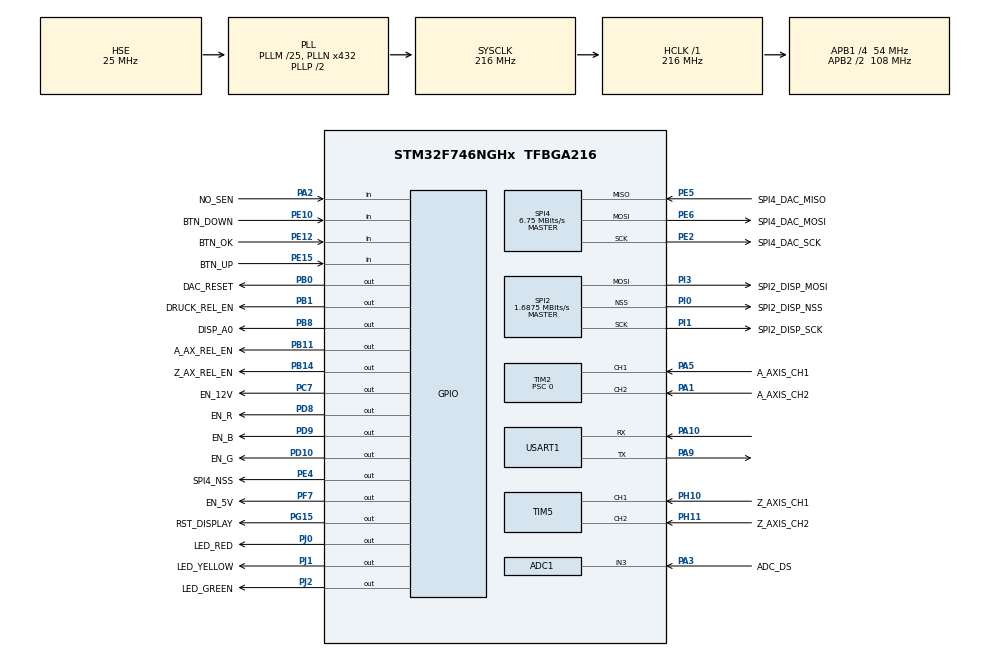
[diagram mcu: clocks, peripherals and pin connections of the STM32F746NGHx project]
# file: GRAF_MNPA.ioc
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ADC1.Channel-3\#ChannelRegularConversion=ADC_CHANNEL_3
ADC1.ContinuousConvMode=DISABLE
ADC1.DataAlign=ADC_DATAALIGN_RIGHT
ADC1.NbrOfConversion=1
ADC1.NbrOfConversionFlag=1
ADC1.Rank-3\#ChannelRegularConversion=1
ADC1.SamplingTime-3\#ChannelRegularConversion=ADC_SAMPLETIME_15CYCLES
ADC1.ScanConvMode=ADC_SCAN_DISABLE
ADC1.master=1
CORTEX_M7.default_mode_Activation=1
Mcu.Family=STM32F7
Mcu.Name=STM32F746NGHx
Mcu.Package=TFBGA216
NVIC.ADC_IRQn=false\:0\:0\:false\:false\:true\:true\:true\:true
NVIC.PriorityGroup=NVIC_PRIORITYGROUP_4
NVIC.TIM1_UP_TIM10_IRQn=false\:0\:0\:false\:false\:true\:true\:true\:true
NVIC.TIM2_IRQn=false\:0\:0\:false\:false\:true\:true\:true\:true
NVIC.TIM5_IRQn=false\:0\:0\:false\:false\:true\:true\:true\:true
NVIC.USART1_IRQn=true\:0\:0\:false\:false\:true\:true\:true\:true
PA1.GPIO_Label=A_AXIS_CH2
PA1.Signal=S_TIM2_CH2
PA10.Mode=Asynchronous
PA10.Signal=USART1_RX
PA13.Mode=JTAG_5_pins
PA13.Signal=SYS_JTMS-SWDIO
PA14.Mode=JTAG_5_pins
PA14.Signal=SYS_JTCK-SWCLK
PA15.Mode=JTAG_5_pins
PA15.Signal=SYS_JTDI
PA2.GPIO_Label=NO_SEN
PA2.GPIO_PuPd=GPIO_PULLUP
PA2.Signal=GPIO_Input
PA3.GPIO_Label=ADC_DS
PA3.Signal=ADCx_IN3
PA5.GPIO_Label=A_AXIS_CH1
PA5.Signal=S_TIM2_CH1_ETR
PA9.Mode=Asynchronous
PA9.Signal=USART1_TX
PB0.GPIO_Label=DAC_RESET
PB0.Signal=GPIO_Output
PB1.GPIO_Label=DRUCK_REL_EN
PB1.Signal=GPIO_Output
PB11.GPIO_Label=A_AX_REL_EN
PB11.GPIO_PuPd=GPIO_NOPULL
PB11.Signal=GPIO_Output
PB14.GPIO_Label=Z_AX_REL_EN
PB14.Signal=GPIO_Output
PB3.Mode=JTAG_5_pins
PB3.Signal=SYS_JTDO-SWO
PB4.Mode=JTAG_5_pins
PB4.Signal=SYS_JTRST
PB8.GPIO_Label=DISP_A0
PB8.Signal=GPIO_Output
PC7.GPIO_Label=EN_12V
PC7.Signal=GPIO_Output
PD10.GPIO_Label=EN_G
PD10.Signal=GPIO_Output
PD8.GPIO_Label=EN_R
PD8.Signal=GPIO_Output
PD9.GPIO_Label=EN_B
PD9.Signal=GPIO_Output
PE10.GPIO_Label=BTN_DOWN
PE10.Signal=GPIO_Input
PE12.GPIO_Label=BTN_OK
PE12.Signal=GPIO_Input
PE15.GPIO_Label=BTN_UP
PE15.Signal=GPIO_Input
PE2.GPIO_Label=SPI4_DAC_SCK
PE2.Mode=Full_Duplex_Master
PE2.Signal=SPI4_SCK
PE4.GPIO_Label=SPI4_NSS
PE4.Signal=GPIO_Output
PE5.GPIO_Label=SPI4_DAC_MISO
PE5.Mode=Full_Duplex_Master
PE5.Signal=SPI4_MISO
PE6.GPIO_Label=SPI4_DAC_MOSI
PE6.Mode=Full_Duplex_Master
PE6.Signal=SPI4_MOSI
PF7.GPIO_Label=EN_5V
PF7.Signal=GPIO_Output
PG15.GPIO_Label=RST_DISPLAY
PG15.Signal=GPIO_Output
PH0/OSC_IN.Mode=HSE-External-Clock-Source
PH0/OSC_IN.Signal=RCC_OSC_IN
PH1/OSC_OUT.Mode=HSE-External-Clock-Source
PH1/OSC_OUT.Signal=RCC_OSC_OUT
PH10.GPIO_Label=Z_AXIS_CH1
PH10.Signal=S_TIM5_CH1
PH11.GPIO_Label=Z_AXIS_CH2
PH11.Signal=S_TIM5_CH2
PI0.GPIO_Label=SPI2_DISP_NSS
PI0.Mode=NSS_Signal_Hard_Output
PI0.Signal=SPI2_NSS
PI1.GPIO_Label=SPI2_DISP_SCK
PI1.Mode=TX_Only_Simplex_Unidirect_Master
PI1.Signal=SPI2_SCK
PI3.GPIO_Label=SPI2_DISP_MOSI
PI3.Mode=TX_Only_Simplex_Unidirect_Master
PI3.Signal=SPI2_MOSI
PJ0.GPIO_Label=LED_RED
PJ0.Signal=GPIO_Output
PJ1.GPIO_Label=LED_YELLOW
PJ1.Signal=GPIO_Output
PJ2.GPIO_Label=LED_GREEN
PJ2.Signal=GPIO_Output
ProjectManager.HeapSize=0x200
ProjectManager.StackSize=0x400
ProjectManager.TargetToolchain=STM32CubeIDE
RCC.AHBFreq_Value=216000000
RCC.APB1CLKDivider=RCC_HCLK_DIV4
RCC.APB1Freq_Value=54000000
RCC.APB1TimFreq_Value=108000000
RCC.APB2CLKDivider=RCC_HCLK_DIV2
RCC.APB2Freq_Value=108000000
RCC.APB2TimFreq_Value=216000000
RCC.CortexFreq_Value=216000000
RCC.HCLKFreq_Value=216000000
RCC.HSE_VALUE=25000000
RCC.HSI_VALUE=16000000
RCC.LSE_VALUE=32768
RCC.PLLM=25
RCC.PLLN=432
RCC.PLLSourceVirtual=RCC_PLLSOURCE_HSE
RCC.SYSCLKFreq_VALUE=216000000
RCC.SYSCLKSource=RCC_SYSCLKSOURCE_PLLCLK
RCC.USBFreq_Value=216000000
RCC.VCOOutputFreq_Value=432000000
SH.ADCx_IN3.0=ADC1_IN3,IN3
SH.S_TIM2_CH1_ETR.0=TIM2_CH1,Encoder_Interface
SH.S_TIM2_CH2.0=TIM2_CH2,Encoder_Interface
SH.S_TIM5_CH1.0=TIM5_CH1,Encoder_Interface
SH.S_TIM5_CH2.0=TIM5_CH2,Encoder_Interface
SPI2.BaudRatePrescaler=SPI_BAUDRATEPRESCALER_32
SPI2.CalculateBaudRate=1.6875 MBits/s
SPI2.DataSize=SPI_DATASIZE_8BIT
SPI2.Direction=SPI_DIRECTION_2LINES
SPI2.Mode=SPI_MODE_MASTER
SPI2.VirtualNSS=VM_NSSHARD
SPI2.VirtualType=VM_MASTER
SPI4.BaudRatePrescaler=SPI_BAUDRATEPRESCALER_16
SPI4.CLKPhase=SPI_PHASE_1EDGE
SPI4.CLKPolarity=SPI_POLARITY_LOW
SPI4.CalculateBaudRate=6.75 MBits/s
SPI4.DataSize=SPI_DATASIZE_8BIT
SPI4.Direction=SPI_DIRECTION_2LINES
SPI4.Mode=SPI_MODE_MASTER
SPI4.NSSPMode=SPI_NSS_PULSE_DISABLE
SPI4.VirtualType=VM_MASTER
TIM2.AutoReloadPreload=TIM_AUTORELOAD_PRELOAD_ENABLE
TIM2.CounterMode=TIM_COUNTERMODE_UP
TIM2.EncoderMode=TIM_ENCODERMODE_TI12
TIM2.IC1Filter=1
TIM2.IC1Polarity=TIM_ICPOLARITY_RISING
TIM2.IC2Filter=1
TIM2.Period=4294967295
TIM2.Prescaler=0
TIM2.TIM_MasterOutputTrigger=TIM_TRGO_RESET
TIM2.TIM_MasterSlaveMode=TIM_MASTERSLAVEMODE_DISABLE
TIM5.AutoReloadPreload=TIM_AUTORELOAD_PRELOAD_ENABLE
TIM5.CounterMode=TIM_COUNTERMODE_UP
TIM5.EncoderMode=TIM_ENCODERMODE_TI12
TIM5.IC1Filter=3
TIM5.IC2Filter=3
TIM5.TIM_MasterOutputTrigger=TIM_TRGO_UPDATE
USART1.VirtualMode-Asynchronous=VM_ASYNC
board=custom

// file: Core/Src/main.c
/* USER CODE BEGIN Header */
/**
 ******************************************************************************
 * @file           : main.c
 * @brief          : Main program body
 ******************************************************************************
 * @attention
 *
 * Mark Angyal, E4, 2024. GRAF MNP
 *
 * Copyright (c) 2024 STMicroelectronics.
 * All rights reserved.
 *
 * This software is licensed under terms that can be found in the LICENSE file
 * in the root directory of this software component.
 * If no LICENSE file comes with this software, it is provided AS-IS.
 *
 ******************************************************************************
 */
/* USER CODE END Header */
#include "main.h"

/* USER CODE BEGIN Includes */
#include <stdio.h>
#include <string.h>
#include <math.h>
#include <stdbool.h>
#include <stdlib.h>
#include "display.h"
#include "AD5684RARUZ.h"
#include "ADC_read.h"
#include "encoder.h"
#include "Reference_Run.h"
#include "PID_Control.h"
#include "Z_PID_Control.h"
#include "handle_button.h"
#include "d_mot_control.h"
#include "data_buffer.h"
#include "test_run.h"

/* USER CODE END Includes */

/* USER CODE BEGIN PD */
#define a_mot 0x01		//Address for DAC-A...
#define z_mot 0x02		//DAC-B...
#define d_mot 0x04		//DAC-C.
#define TARGET_VOLTAGE_NEUTRAL 2.5f
#define MAX_DATA_POINTS 1000  // Maximale Anzahl an Datenpunkten

/* USER CODE END PD */

ADC_HandleTypeDef hadc1;

SPI_HandleTypeDef hspi2;
SPI_HandleTypeDef hspi4;

TIM_HandleTypeDef htim2;
TIM_HandleTypeDef htim5;

UART_HandleTypeDef huart1;

/* USER CODE BEGIN PV */
ad5684_dac_t dac;

typedef enum {
	IDLE_START, EXEC_REFERENCE_RUN, TEST_START, TEST_RUN, STOP, COMPLETED, FEHLER
} run_state_t;

run_state_t current_state = IDLE_START;

extern uint32_t A_Axis_TargetPosition;
extern uint32_t Z_Axis_TargetPosition;
extern int32_t a_encoder_start;
extern int32_t a_encoder_end;
extern int32_t z_encoder_start;
extern int32_t z_encoder_end;
extern int32_t z_ax_no_pos;
extern char display_buffer[DISPLAY_MAX_LINES][30];
extern float voltage;
/* UART Callback */
static char error_message[64];
static volatile uint8_t UART1_rxBuffer[1] = { 0 };

/* Ring buffer for UART commands — filled by ISR, drained in main loop */
#define UART_CMD_BUF_SIZE 32
static volatile uint8_t uart_cmd_buf[UART_CMD_BUF_SIZE];
static volatile uint8_t uart_cmd_head = 0;
static volatile uint8_t uart_cmd_tail = 0;
static bool tick_100ms_testrun_elapsed = false;
static uint32_t z_target_requested = 0;

uint32_t next_100ms_tick = 0;
uint32_t next_10ms_tick = 0;
uint32_t next_1ms_tick = 0;
uint32_t next_uart_status_tick = 0;

volatile bool ds_was_activated = false;
bool z_axis_success = false;
bool a_axis_success = false;
static bool completed_stats_sent = false;
static bool test_summary_sent = false;
/* USER CODE END PV */

void SystemClock_Config(void);
static void MPU_Config(void);
static void MX_GPIO_Init(void);
static void MX_TIM2_Init(void);
static void MX_SPI2_Init(void);
static void MX_TIM5_Init(void);
static void MX_USART1_UART_Init(void);
static void MX_SPI4_Init(void);
static void MX_ADC1_Init(void);
/* USER CODE BEGIN PFP */
void update_display(void);
void Process_UART_Command(const char *command);
void red_light(void);
void green_light(void);
void yellow_light(void);
void white_light(void);
/* USER CODE END PFP */

/* USER CODE BEGIN 0 */
display_info_t display1 = {								//The Display init
		.spi_handle = &hspi2, .lcd_width = 128, .lcd_height = 64,
				.lcd_ram_pages = 8 };

static const char* get_state_name(void) {
	switch (current_state) {
		case IDLE_START:         return "IDLE_START";
		case EXEC_REFERENCE_RUN: return "EXEC_REFERENCE_RUN";
		case TEST_START:         return "TEST_START";
		case TEST_RUN:           return "TEST_RUN";
		case STOP:               return "STOP";
		case COMPLETED:          return "COMPLETED";
		case FEHLER:             return "FEHLER";
		default:                 return "UNKNOWN";
	}
}

static void uart_send_status(void) {
	char buf[32];
	snprintf(buf, sizeof(buf), "_STATUS_%s\r\n", get_state_name());
	HAL_UART_Transmit(&huart1, (const uint8_t*) buf, (uint16_t) strlen(buf), 100);
}

void uart_send_text(const char *text, uint32_t timeout) {
	HAL_UART_Transmit(&huart1, (const uint8_t*) text, (uint16_t) strlen(text),
			timeout);
}

void Z_Target_SetRequested(uint32_t target) {
	z_target_requested = target;
	Z_Axis_TargetPosition = target;
}

void Z_Target_SetRequestedDirect(uint32_t target) {
	z_target_requested = target;
	Z_Axis_TargetPosition = target;
}

uint32_t Z_Target_GetRequested(void) {
	return z_target_requested;
}

static uint32_t clamp_nonnegative_position(int32_t position) {
	return (position < 0) ? 0u : (uint32_t)position;
}

static bool parse_positive_decimal(const char *s, float *out) {
	if (s == NULL || out == NULL) {
		return false;
	}

	while (*s == ' ' || *s == '\t' || *s == '\r' || *s == '\n') {
		++s;
	}
	if (*s == '\0') {
		return false;
	}
	if (*s == '+') {
		++s;
	}
	if (*s == '-') {
		return false;
	}

	const char *end = s + strlen(s);
	while (end > s && (end[-1] == ' ' || end[-1] == '\t' || end[-1] == '\r' || end[-1] == '\n')) {
		--end;
	}

	uint32_t int_part = 0;
	uint32_t frac_part = 0;
	uint32_t frac_div = 1;
	bool seen_digit = false;
	bool seen_dot = false;
	for (const char *p = s; p < end; ++p) {
		char c = *p;
		if (c >= '0' && c <= '9') {
			seen_digit = true;
			if (!seen_dot) {
				int_part = (int_part * 10u) + (uint32_t) (c - '0');
			} else if (frac_div < 1000000000u) {
				frac_part = (frac_part * 10u) + (uint32_t) (c - '0');
				frac_div *= 10u;
			}
		} else if (c == '.' && !seen_dot) {
			seen_dot = true;
		} else {
			return false;
		}
	}
	if (!seen_digit) {
		return false;
	}
	*out = (float) int_part + ((float) frac_part / (float) frac_div);
	return *out > 0.0f;
}

static bool parse_pid_triplet(const char *payload, float *kp, float *ki, float *kd) {
	if (payload == NULL || kp == NULL || ki == NULL || kd == NULL) {
		return false;
	}
	const char *c1 = strchr(payload, ',');
	if (c1 == NULL) {
		return false;
	}
	const char *c2 = strchr(c1 + 1, ',');
	if (c2 == NULL) {
		return false;
	}
	if (strchr(c2 + 1, ',') != NULL) {
		return false;
	}
	char p1[24] = { 0 };
	char p2[24] = { 0 };
	char p3[24] = { 0 };
	size_t l1 = (size_t) (c1 - payload);
	size_t l2 = (size_t) (c2 - (c1 + 1));
	size_t l3 = strlen(c2 + 1);
	if (l1 == 0 || l2 == 0 || l3 == 0 || l1 >= sizeof(p1) || l2 >= sizeof(p2)
			|| l3 >= sizeof(p3)) {
		return false;
	}
	memcpy(p1, payload, l1);
	memcpy(p2, c1 + 1, l2);
	memcpy(p3, c2 + 1, l3);
	if (!parse_positive_decimal(p1, kp)) {
		return false;
	}
	if (!parse_positive_decimal(p2, ki)) {
		return false;
	}
	if (!parse_positive_decimal(p3, kd)) {
		return false;
	}
	return true;
}

/* Update Display */
/* Update Display (Minimal & Ruckfrei - waehrend TEST_RUN komplett deaktiviert) */
void update_display() {
	if (current_state == TEST_RUN) {
		return;
	}

	int32_t z_axis_position = Encoder_GetPosition_Z_AXIS();

	const char *st_name = "BEREIT";
	if (current_state == IDLE_START) st_name = "BITTE REFERENZIEREN";
	else if (current_state == EXEC_REFERENCE_RUN) st_name = "REFERENZIERE...";
	else if (current_state == TEST_START) st_name = "BEREIT (START-POS)";
	else if (current_state == STOP) st_name = "NOT-HALT / STOP";
	else if (current_state == FEHLER) st_name = "FEHLER!";
	else if (current_state == COMPLETED) st_name = "TEST BEENDET";

	snprintf(display_buffer[0], sizeof(display_buffer[0]), "   GRAF MNP TEST");
	snprintf(display_buffer[2], sizeof(display_buffer[2]), "Status: %-15s", st_name);
	snprintf(display_buffer[4], sizeof(display_buffer[4]), "Z-Ist:  %ld", (long)z_axis_position);
	if (current_state == FEHLER && error_message[0] != '\0') {
		snprintf(display_buffer[5], sizeof(display_buffer[5]), "%.21s", error_message);
	} else {
		display_buffer[5][0] = '\0';
	}
	snprintf(display_buffer[7], sizeof(display_buffer[7]), "  REF     HOME   RESET");

	display_jazz_write_string_5x7(&display1, 0, display_buffer[0]);
	display_jazz_write_string_5x7(&display1, 2, display_buffer[2]);
	display_jazz_write_string_5x7(&display1, 4, display_buffer[4]);
	if (display_buffer[5][0] != '\0') {
		display_jazz_write_string_5x7(&display1, 5, display_buffer[5]);
	}
	display_jazz_write_string_5x7(&display1, 7, display_buffer[7]);

	/* Live-Telemetrie fuer Windows GUI (wird waehrend TEST_RUN ohnehin oben uebersprungen) */
	GPIO_PinState no_sen_state = HAL_GPIO_ReadPin(NO_SEN_GPIO_Port, NO_SEN_Pin);
	int32_t a_axis_position = Encoder_GetPosition_A_AXIS();
	float z_dac_voltage = voltage;
	uint16_t raw_value = ADC_Drucksensor(&hadc1);
	float sensorVoltage = (float)raw_value * (5.0f / 4095.0f);

	char datablock[96];
	snprintf(datablock, sizeof(datablock), "%d;%.3f;%ld;%ld;%ld;%.3f\r\n",
			(int)no_sen_state, sensorVoltage, (long)a_axis_position,
			(long)z_axis_position, (long)Z_Axis_TargetPosition, z_dac_voltage);
	uart_send_text(datablock, 50);
}

void HAL_UART_RxCpltCallback(UART_HandleTypeDef *huart) {
	if (huart == &huart1) {
		/* Store received byte in ring buffer — never call blocking code from ISR */
		uint8_t next = (uart_cmd_head + 1) % UART_CMD_BUF_SIZE;
		if (next != uart_cmd_tail) { // drop silently if buffer is full
			uart_cmd_buf[uart_cmd_head] = UART1_rxBuffer[0];
			uart_cmd_head = next;
		}
		HAL_UART_Receive_IT(&huart1, (uint8_t*) UART1_rxBuffer, 1);
	}
}

void HAL_UART_ErrorCallback(UART_HandleTypeDef *huart) {
	if (huart == &huart1) {
		__HAL_UART_CLEAR_OREFLAG(huart);
		__HAL_UART_CLEAR_NEFLAG(huart);
		__HAL_UART_CLEAR_FEFLAG(huart);
		__HAL_UART_CLEAR_PEFLAG(huart);
		HAL_UART_Receive_IT(&huart1, (uint8_t*) UART1_rxBuffer, 1);
	}
}

// UART-Verarbeitung
void Process_UART_Command(const char *command) {
	int32_t raw_min = (z_encoder_start < z_encoder_end) ? z_encoder_start : z_encoder_end;
	int32_t raw_max = (z_encoder_start > z_encoder_end) ? z_encoder_start : z_encoder_end;
	if (raw_min < 0) raw_min = 0;

	/* Dynamische Sicherheits-Grenzwerte fuer den Bediener:
	 * Unteres Limit: gemessener harter Anschlag + 50
	 * Oberes Limit:  gemessener harter Anschlag - 150 */
	uint32_t lower_limit = (uint32_t)raw_min + 50u;
	uint32_t upper_limit = (raw_max > 150) ? (uint32_t)(raw_max - 150) : (uint32_t)raw_max;
	if (upper_limit < lower_limit) upper_limit = lower_limit + 100u;

	char response[256] = { 0 }; 				// Rückmeldungspuffer
	uint32_t step_size = 100;

	if (command[0] == '+' || command[0] == '-') {
		if (command[1] != '\0') {
			unsigned long parsed_step = 0;
			if (sscanf(command + 1, "%lu", &parsed_step) != 1 || parsed_step == 0) {
				snprintf(response, sizeof(response), "Ungueltig: +<zahl> oder -<zahl>\r\n");
				uart_send_status();
				uart_send_text(response, 50);
				return;
			}
			step_size = (uint32_t) parsed_step;
		}
	}

	if (command[0] == '+') { // Zielposition erhöhen
		if (current_state != TEST_START) {
			snprintf(response, sizeof(response), "Ignoriert: kein TEST_START\r\n");
		} else {
			uint32_t req = Z_Target_GetRequested();
			uint32_t next = req;
			if (req + step_size <= upper_limit) {
				next = req + step_size;
				snprintf(response, sizeof(response), "Erhöht: Ziel = %lu\r\n", next);
			} else {
				next = upper_limit;
				snprintf(response, sizeof(response), "Limit: Ziel = %lu\r\n", next);
			}
			Z_Target_SetRequested(next);
		}

	} else if (command[0] == '-') { // Zielposition verringern
		if (current_state != TEST_START) {
			snprintf(response, sizeof(response), "Ignoriert: kein TEST_START\r\n");
		} else {
			uint32_t req = Z_Target_GetRequested();
			uint32_t next = req;
			if (req >= step_size + lower_limit) {
				next = req - step_size;
				snprintf(response, sizeof(response), "Verringert: Ziel = %lu\r\n", next);
			} else {
				next = lower_limit;
				snprintf(response, sizeof(response), "Limit: Ziel = %lu\r\n", next);
			}
			Z_Target_SetRequested(next);
		}

	} else if (strcmp(command, "r") == 0) { // Relais an/aus
		snprintf(response, sizeof(response), "System reset initiated.\r\n");
		NVIC_SystemReset();
	} else if (strcmp(command, "s") == 0) { // Referenzlauf starten
		Z_PID_Reset();
		Z_PID_SetSchedulerEnabled(true);
		current_state = EXEC_REFERENCE_RUN;
		snprintf(response, sizeof(response), "Referenzlauf gestartet.\r\n");
	} else if (strcmp(command, "e") == 0) { // Test / Manuell starten
		HAL_GPIO_WritePin(GPIOB, Z_AX_REL_EN_Pin, GPIO_PIN_SET);
		HAL_GPIO_WritePin(GPIOB, A_AX_REL_EN_Pin, GPIO_PIN_SET);
		Z_PID_Reset();
		Z_PID_SetSchedulerEnabled(true);
		uint32_t home_pos = (z_ax_no_pos > 0) ? (z_ax_no_pos + 50) : clamp_nonnegative_position(Encoder_GetPosition_Z_AXIS());
		Z_Target_SetRequestedDirect(home_pos);
		current_state = TEST_START;
		snprintf(response, sizeof(response), "Test/Manuell gestartet.\r\n");
	} else if (strncmp(command, "TA=", 3) == 0 || strcmp(command, "TA") == 0) {
		int cycles = (command[2] == '=') ? atoi(command + 3) : 10;
		if (cycles <= 0) cycles = 1;
		if (cycles > 100000) cycles = 100000;
		Z_PID_SetSchedulerEnabled(false);
		TestRun_InitEx(TESTRUN_MODE_A_CLASSIC, (uint32_t)cycles);
		current_state = TEST_RUN;
		snprintf(response, sizeof(response), "TEST_A_START:%d Zyklen\r\n", cycles);
	} else if (strncmp(command, "TB=", 3) == 0 || strcmp(command, "TB") == 0) {
		int cycles = (command[2] == '=') ? atoi(command + 3) : 10;
		if (cycles <= 0) cycles = 1;
		if (cycles > 100000) cycles = 100000;
		Z_PID_SetSchedulerEnabled(false);
		TestRun_InitEx(TESTRUN_MODE_B_PROBE_SCATTER, (uint32_t)cycles);
		current_state = TEST_RUN;
		snprintf(response, sizeof(response), "TEST_B_START:%d Zyklen\r\n", cycles);
	} else if (strncmp(command, "CFG_TB:", 7) == 0) {
		const char *p = command + 7;
		char buf[48];
		strncpy(buf, p, sizeof(buf) - 1);
		buf[sizeof(buf) - 1] = '\0';
		char *semi = strchr(buf, ';');
		float dmot = 3.3f;
		unsigned long delta = 90;
		if (semi != NULL) {
			*semi = '\0';
			char *comma = strchr(buf, ',');
			if (comma) *comma = '.';
			parse_positive_decimal(buf, &dmot);
			delta = strtoul(semi + 1, NULL, 10);
		} else {
			char *comma = strchr(buf, ',');
			if (comma) *comma = '.';
			parse_positive_decimal(buf, &dmot);
		}
		if (dmot > 20.0f) dmot = dmot / 1000.0f; /* falls in mV übergeben */
		TestRun_SetDruckmotorVoltage(dmot);
		if (delta > 0) TestRun_SetTriggerDeltaMv((uint32_t)delta);
		snprintf(response, sizeof(response), "CFG_TB_OK:dmot=%.2f,delta=%lu\r\n", dmot, (unsigned long)TestRun_GetTriggerDeltaMv());
	} else if (strcmp(command, "CFG_TB?") == 0) {
		snprintf(response, sizeof(response), "CFG_TB:%.2f;%lu\r\n", TestRun_GetDruckmotorVoltage(), (unsigned long)TestRun_GetTriggerDeltaMv());
	} else if (command[0] == 'Z' && command[1] != '\0') { // Z-Achse Zielposition direkt setzen (z.B. "Z1500")
		if (current_state != TEST_START) {
			snprintf(response, sizeof(response), "Ignoriert: kein TEST_START\r\n");
		} else {
			uint32_t val = 0;
			if (sscanf(command + 1, "%lu", &val) == 1) {
				if (val >= lower_limit && val <= upper_limit) {
					Z_Target_SetRequested(val);
					snprintf(response, sizeof(response), "Z-Pos: %lu\r\n", val);
				} else {
					snprintf(response, sizeof(response), "Limit! %lu [%lu-%lu]\r\n", val, lower_limit, upper_limit);
				}
			} else {
				snprintf(response, sizeof(response), "Ungueltig: Z<zahl>\r\n");
			}
		}
	} else if (strcmp(command, "PP?") == 0) {
		float kp = 0.0f, ki = 0.0f, kd = 0.0f;
		Z_PID_GetPositionParameters(&kp, &ki, &kd);
		snprintf(response, sizeof(response), "PIDZP:%.7f;%.9f;%.7f\r\n", kp, ki, kd);
	} else if (strcmp(command, "PV?") == 0) {
		float kp = 0.0f, ki = 0.0f, kd = 0.0f;
		Z_PID_GetVelocityParameters(&kp, &ki, &kd);
		snprintf(response, sizeof(response), "PIDZV:%.7f;%.9f;%.7f\r\n", kp, ki, kd);
	} else if (strcmp(command, "L?") == 0) {
		snprintf(response, sizeof(response), "ZLIM:%lu;%lu\r\n", lower_limit, upper_limit);
	} else if (strcmp(command, "V?") == 0) {
		snprintf(response, sizeof(response), "ZV:%u\r\n", Z_PID_GetSpeedLevel());
	} else if (strcmp(command, "SNO?") == 0) {
		snprintf(response, sizeof(response), "SNO:%ld\r\n", (long)z_ax_no_pos);
	} else if (command[0] == 'P' && command[1] == 'P' && command[2] == '=') {
		float kp = 0.0f, ki = 0.0f, kd = 0.0f;
		if (parse_pid_triplet(command + 3, &kp, &ki, &kd)) {
			Z_PID_SetPositionParameters(kp, ki, kd);
			snprintf(response, sizeof(response), "PIDZP_SET:%.7f;%.9f;%.7f\r\n", kp, ki, kd);
		} else {
			snprintf(response, sizeof(response), "PIDZP_ERR:Format PP=kp,ki,kd\r\n");
		}
	} else if (command[0] == 'P' && command[1] == 'V' && command[2] == '=') {
		float kp = 0.0f, ki = 0.0f, kd = 0.0f;
		if (parse_pid_triplet(command + 3, &kp, &ki, &kd)) {
			Z_PID_SetVelocityParameters(kp, ki, kd);
			snprintf(response, sizeof(response), "PIDZV_SET:%.7f;%.9f;%.7f\r\n", kp, ki, kd);
		} else {
			snprintf(response, sizeof(response), "PIDZV_ERR:Format PV=kp,ki,kd\r\n");
		}
	} else if (command[0] == 'V' && command[1] == '=') {
		int level = atoi(command + 2);
		if (level >= 1 && level <= 16) {
			Z_PID_SetSpeedLevel((uint8_t)level);
			snprintf(response, sizeof(response), "ZV_SET:%u\r\n", (unsigned)level);
		} else {
			snprintf(response, sizeof(response), "ZV_ERR:Format V=1..16\r\n");
		}
	} else if (strcmp(command, "N") == 0) {
		Z_PID_EmergencyNeutral(&dac);
		Z_Target_SetRequestedDirect(clamp_nonnegative_position(Encoder_GetPosition_Z_AXIS()));
		snprintf(response, sizeof(response), "Z_NEUTRAL:2.5V\r\n");
	} else if (strcmp(command, "q") == 0) {
		Trace_Freeze();
		TestRun_RestoreSpeedLevel();
		uint32_t hold_pos = clamp_nonnegative_position(Encoder_GetPosition_Z_AXIS());
		Z_Target_SetRequestedDirect(hold_pos);
		current_state = TEST_START;
	} else if (strcmp(command, "DUMP_TRACE") == 0 || strcmp(command, "TRACE?") == 0) {
		if (current_state == TEST_RUN) {
			snprintf(response, sizeof(response), "TRACE_BUSY: Test laeuft noch!\r\n");
			uart_send_text(response, 50);
		} else {
			Trace_DumpUART();
		}
		return;
	} else if (strcmp(command, "CMD:TRACE_MODE:RING") == 0) {
		Trace_SetMode(TRACE_MODE_RING);
		snprintf(response, sizeof(response), "TRACE_MODE:RING (Pre-Trigger aktiv)\r\n");
	} else if (strcmp(command, "CMD:TRACE_MODE:START") == 0) {
		Trace_SetMode(TRACE_MODE_START);
		snprintf(response, sizeof(response), "TRACE_MODE:START (Linear ab Start)\r\n");
	} else if (strcmp(command, "CMD:TRACE_FREEZE") == 0) {
		Trace_Freeze();
		snprintf(response, sizeof(response), "TRACE_FREEZE:OK\r\n");
	}
	// Rückmeldung senden
	uart_send_status();
	uart_send_text(response, 50);
}
void red_light() {
	HAL_GPIO_WritePin(GPIOD, EN_G_Pin | EN_B_Pin, GPIO_PIN_RESET);
	HAL_GPIO_WritePin(GPIOD, EN_R_Pin, GPIO_PIN_SET);
	HAL_GPIO_TogglePin(GPIOJ, LED_RED_Pin);
}
void green_light() {
	HAL_GPIO_WritePin(GPIOD, EN_R_Pin | EN_B_Pin, GPIO_PIN_RESET);
	HAL_GPIO_WritePin(GPIOD, EN_G_Pin, GPIO_PIN_SET);
	HAL_GPIO_TogglePin(GPIOJ, LED_GREEN_Pin);

}
void yellow_light() {
	HAL_GPIO_WritePin(GPIOD, EN_R_Pin | EN_G_Pin, GPIO_PIN_SET);
	HAL_GPIO_WritePin(GPIOD, EN_B_Pin, GPIO_PIN_RESET);
	HAL_GPIO_TogglePin(GPIOJ, LED_YELLOW_Pin);

}
void white_light() {
	HAL_GPIO_WritePin(GPIOD, EN_R_Pin | EN_G_Pin | EN_B_Pin, GPIO_PIN_SET);
}

/* USER CODE END 0 */

int main(void)
{

  /* MPU Configuration--------------------------------------------------------*/
  MPU_Config();

  /* MCU Configuration--------------------------------------------------------*/

  /* Reset of all peripherals, Initializes the Flash interface and the Systick. */
  HAL_Init();

  /* Configure the system clock */
  SystemClock_Config();

  /* Initialize all configured peripherals */
  MX_GPIO_Init();
  MX_TIM2_Init();
  MX_SPI2_Init();
  MX_TIM5_Init();
  MX_USART1_UART_Init();
  MX_SPI4_Init();
  MX_ADC1_Init();
  /* USER CODE BEGIN 2 */

	/* GPIO Enables Voltages */
	HAL_GPIO_WritePin(EN_5V_GPIO_Port, EN_5V_Pin, GPIO_PIN_SET); //Enables 5V
	HAL_GPIO_WritePin(EN_12V_GPIO_Port, EN_12V_Pin, GPIO_PIN_SET); //Enables 12V
	/* DAC Initialization */
	HAL_GPIO_WritePin(GPIOB, DAC_RESET_Pin, GPIO_PIN_RESET);
	HAL_Delay(1);
	HAL_GPIO_WritePin(GPIOB, DAC_RESET_Pin, GPIO_PIN_SET);
	dac = (ad5684_dac_t ) { .spi_handle = &hspi4, .spi_cs_port =
	SPI4_NSS_GPIO_Port, .spi_cs_pin = SPI4_NSS_Pin,
	};
	ad5684_init(&dac);
	display_jazz_init(&display1);
	HAL_GPIO_WritePin(GPIOD, EN_G_Pin | EN_B_Pin | EN_R_Pin, GPIO_PIN_SET); //Display background ON
	Encoder_Init();
	HAL_UART_Receive_IT(&huart1, (uint8_t*) UART1_rxBuffer, 1);
	Z_Axis_TargetPosition = clamp_nonnegative_position(Encoder_GetPosition_Z_AXIS());
	Z_Target_SetRequestedDirect(Z_Axis_TargetPosition);
  /* USER CODE END 2 */

  /* Infinite loop */
  /* USER CODE BEGIN WHILE */
	while (1) {
		TestRunStats_t stats;

		/* Druckmotor nur bei Zustandswechsel neutralisieren (entlastet SPI-Bus) */
		static run_state_t s_last_motor_state = STOP;
		if (current_state != s_last_motor_state) {
			if (current_state != TEST_RUN) {
				d_mot_control(&dac, 2.5f);
			}
			s_last_motor_state = current_state;
		}

		if (current_state == IDLE_START) {
			white_light();
			if (HAL_GetTick() >= next_uart_status_tick) {
				next_uart_status_tick = HAL_GetTick() + 500;
				uart_send_status();
				uart_send_text("Bitte Referenzieren\r\n", 100);
			}
			//Referenzlauf starten
		} else if (current_state == EXEC_REFERENCE_RUN) {
			Z_Axis_ReferenceRun(&dac, &z_axis_success);
			if (z_axis_success) {
				uart_send_status();
				uart_send_text("Z-Achse Referenz OK\r\n", 1000);
			} else {
				uart_send_status();
				uart_send_text("Z-Achse Referenz Fehler\r\n", 1000);
			    strcpy(error_message, "Z-Achse Referenzfehler");
				red_light();
				current_state = FEHLER;
				continue;
			}
			HAL_Delay(1000);
			A_Axis_ReferenceRun(&dac, &a_axis_success);
			if (a_axis_success) {
				uart_send_status();
				uart_send_text("A-Achse Referenz OK\r\n", 1000);
			} else {
				uart_send_status();
				char err_buf[160];
				if (a_axis_last_ref_result == A_REF_ERR_DRUCKSENSOR) {
					float ds_volt = (float)a_axis_trip_adc_val * (5.0f / 4095.0f);
					snprintf(err_buf, sizeof(err_buf),
						"A-Achse Referenz FEHLER: Drucksensor hat ausgeloest! (IST: %.2fV / %u inc > 100 inc -> Hebel auf ~0,04V einstellen)\r\n",
						ds_volt, a_axis_trip_adc_val);
					strcpy(error_message, "A-Achse: Drucksensor (Hebel!)");
				} else if (a_axis_last_ref_result == A_REF_ERR_NO_MOVEMENT) {
					int32_t a_stroke = labs(a_encoder_end - a_encoder_start);
					snprintf(err_buf, sizeof(err_buf),
						"A-Achse Referenz FEHLER: Kein Hub erkannt (%ld inc < 30 inc)! Motor, Riemen oder Encoderkabel pruefen.\r\n",
						(long)a_stroke);
					strcpy(error_message, "A-Achse: Motor/Kabel (kein Hub)");
				} else {
					snprintf(err_buf, sizeof(err_buf), "A-Achse Referenz Fehler\r\n");
					strcpy(error_message, "A-Achse Referenzfehler");
				}
				uart_send_text(err_buf, 1000);
				red_light();
				current_state = FEHLER;
				continue;
			}
			d_mot_control(&dac, 2.5f);
			HAL_Delay(500);
			HAL_GPIO_WritePin(GPIOB, Z_AX_REL_EN_Pin, GPIO_PIN_SET);
			HAL_GPIO_WritePin(GPIOB, A_AX_REL_EN_Pin, GPIO_PIN_SET);
			Z_PID_Reset();
			Z_Target_SetRequestedDirect(Z_Axis_TargetPosition);
			current_state = TEST_START;

		} else if (current_state == TEST_START) {
			white_light();
			if (HAL_GetTick() >= next_uart_status_tick) {
				next_uart_status_tick = HAL_GetTick() + 500;
				uart_send_status();
				uart_send_text("Modus?\r\n", 100);
			}
			//Testlauf durchführen
			} else if (current_state == TEST_RUN) {
				white_light();

				bool tick = tick_100ms_testrun_elapsed;
				if (tick) tick_100ms_testrun_elapsed = false;

				TestRunResult_t result = TestRun_Tick(tick);

				if (result == TESTRUN_COMPLETE) {
					completed_stats_sent = false;
					test_summary_sent = false;
					current_state = COMPLETED;
				} else if (result == TESTRUN_ERROR) {
					TestRun_GetErrorMessage(error_message, sizeof(error_message));
					TestRun_GetStats(&stats);
					char summary[450];
					uint32_t time_min = stats.test_time_ms / 60000u;
					uint32_t time_sec = (stats.test_time_ms / 1000u) % 60u;
					const char *phase = TestRun_GetPhaseName();
					snprintf(summary, sizeof(summary),
						"TEST_SUMMARY:status=ERROR,cycles=%lu,done=%lu,ds_err=%lu,no_err=%lu,valid_sensor=%lu,invalid_sensor=%lu,motor_fault=%lu,z_ist_min=%ld,z_ist_max=%ld,z_soll_min=%ld,z_soll_max=%ld,last_ist=%ld,last_soll=%ld,phase=%s,time_m=%lu,time_s=%lu,last_delta=%ld,overshoot=%ld,lost=%ld,no_sensor_pos=%ld,v_max=%.1f,a_max=%.1f,a_brake=%.1f,last_error=%s\r\n\r\n",
						stats.total_cycles, stats.completed_cycles, stats.ds_errors, stats.no_sensor_errors,
						stats.valid_sensor_events, stats.invalid_sensor_events, stats.motor_faults,
						(long)stats.z_ist_min, (long)stats.z_ist_max,
						(long)stats.z_soll_min, (long)stats.z_soll_max,
						(long)stats.last_ist_pos, (long)stats.last_soll_pos,
						phase,
						time_min, time_sec,
						(long)stats.last_cycle_delta, (long)stats.last_cycle_overshoot,
						(long)stats.last_cycle_lost_steps, (long)stats.no_sensor_pos,
						(double)stats.max_velocity_mms, (double)stats.max_accel_g, (double)stats.max_decel_g,
						error_message);
					uart_send_text(summary, 100);
					test_summary_sent = true;
					red_light();
					current_state = FEHLER;
				}
			} else if (current_state == STOP) {
			yellow_light();
			if (HAL_GetTick() >= next_uart_status_tick) {
				next_uart_status_tick = HAL_GetTick() + 1000;
				uart_send_status();
				uart_send_text("Test abgebrochen\r\n", 50);
			}
		} else if (current_state == COMPLETED) {
			green_light();

			TestRun_GetStats(&stats);

			/* Statistiken und Pufferdaten einmalig nach Testabschluss senden */
			if (!completed_stats_sent) {
				completed_stats_sent = true;
				if (TestRun_GetMode() == TESTRUN_MODE_B_PROBE_SCATTER) {
					TestBScatterStats_t b_stats;
					TestRun_GetScatterStats(&b_stats);
					char stats_msg[500];
					snprintf(stats_msg, sizeof(stats_msg),
						"TEST_B_SUMMARY:status=OK,cycles=%lu,done=%lu,z_ref=%ld,z_min=%ld,z_max=%ld,delta_min=%ld,delta_max=%ld,range=%ld,mean=%.1f,baseline_v=%.3f,trig_v=%.3f,time_ms=%lu,speed_level=%u,v_max=%.1f,a_max=%.1f,a_brake=%.1f,no_sensor_pos=%ld,contact_travel=%lu,peak_v=%.3f\r\n\r\n",
						stats.total_cycles, stats.completed_cycles,
						(long)b_stats.z_ref_pos,
						(long)b_stats.z_min_pos, (long)b_stats.z_max_pos,
						(long)(b_stats.z_min_pos - b_stats.z_ref_pos),
						(long)(b_stats.z_max_pos - b_stats.z_ref_pos),
						(long)b_stats.scatter_range,
						(double)b_stats.mean_pos,
						(double)((float)b_stats.baseline_adc * (5.0f / 4095.0f)),
						(double)((float)b_stats.trigger_adc * (5.0f / 4095.0f)),
						(unsigned long)stats.test_time_ms,
						(unsigned)b_stats.fast_speed_level,
						(double)b_stats.max_velocity_mms, (double)b_stats.max_accel_g, (double)b_stats.max_decel_g,
						(long)z_ax_no_pos,
						(unsigned long)b_stats.contact_travel_inc,
						(double)((float)b_stats.peak_ds_adc * (5.0f / 4095.0f)));

					/* Zuerst alle Einzelzyklen senden, damit die Summary-Auswertung
					 * im Terminal/GUI chronologisch ganz unten (am Ende) steht */
					TestRun_DumpCyclesUART();
					uart_send_text(stats_msg, 100);
				} else {
					char stats_msg[450];
					uint32_t time_min = stats.test_time_ms / 60000u;
					uint32_t time_sec = (stats.test_time_ms / 1000u) % 60u;
					const char *phase = TestRun_GetPhaseName();
					snprintf(stats_msg, sizeof(stats_msg),
						"TEST_SUMMARY:status=OK,cycles=%lu,done=%lu,ds_err=%lu,no_err=%lu,valid_sensor=%lu,invalid_sensor=%lu,motor_fault=%lu,z_ist_min=%ld,z_ist_max=%ld,z_soll_min=%ld,z_soll_max=%ld,last_ist=%ld,last_soll=%ld,phase=%s,time_m=%lu,time_s=%lu,last_delta=%ld,overshoot=%ld,lost=%ld,no_sensor_pos=%ld,v_max=%.1f,a_max=%.1f,a_brake=%.1f\r\n\r\n",
						stats.total_cycles, stats.completed_cycles, stats.ds_errors, stats.no_sensor_errors,
						stats.valid_sensor_events, stats.invalid_sensor_events, stats.motor_faults,
						(long)stats.z_ist_min, (long)stats.z_ist_max,
						(long)stats.z_soll_min, (long)stats.z_soll_max,
						(long)stats.last_ist_pos, (long)stats.last_soll_pos,
						phase,
						time_min, time_sec,
						(long)stats.last_cycle_delta, (long)stats.last_cycle_overshoot,
						(long)stats.last_cycle_lost_steps, (long)stats.no_sensor_pos,
						(double)stats.max_velocity_mms, (double)stats.max_accel_g, (double)stats.max_decel_g);
					uart_send_text(stats_msg, 100);
				}
			}

			if (HAL_GetTick() >= next_uart_status_tick) {
				next_uart_status_tick = HAL_GetTick() + 1000;
				uart_send_status();
				uart_send_text("Test abgeschlossen\r\n", 50);
			}
			Z_Target_SetRequestedDirect(z_ax_no_pos + 50);
		} else if (current_state == FEHLER) {
			red_light();
			if (HAL_GetTick() >= next_uart_status_tick) {
				next_uart_status_tick = HAL_GetTick() + 1000;
				uart_send_status();
				uart_send_text("FEHLER\r\n", 50);
			}
			if (!test_summary_sent) {
				TestRun_GetStats(&stats);
				char summary[450];
				uint32_t time_min = stats.test_time_ms / 60000u;
				uint32_t time_sec = (stats.test_time_ms / 1000u) % 60u;
				const char *phase = TestRun_GetPhaseName();
				snprintf(summary, sizeof(summary),
					"TEST_SUMMARY:status=ERROR,cycles=%lu,done=%lu,ds_err=%lu,no_err=%lu,valid_sensor=%lu,invalid_sensor=%lu,motor_fault=%lu,z_ist_min=%ld,z_ist_max=%ld,z_soll_min=%ld,z_soll_max=%ld,last_ist=%ld,last_soll=%ld,phase=%s,time_m=%lu,time_s=%lu,last_delta=%ld,overshoot=%ld,lost=%ld,no_sensor_pos=%ld,v_max=%.1f,a_max=%.1f,a_brake=%.1f,last_error=%s\r\n\r\n",
					stats.total_cycles, stats.completed_cycles, stats.ds_errors, stats.no_sensor_errors,
					stats.valid_sensor_events, stats.invalid_sensor_events, stats.motor_faults,
					(long)stats.z_ist_min, (long)stats.z_ist_max,
					(long)stats.z_soll_min, (long)stats.z_soll_max,
					(long)stats.last_ist_pos, (long)stats.last_soll_pos,
					phase,
					time_min, time_sec,
					(long)stats.last_cycle_delta, (long)stats.last_cycle_overshoot,
					(long)stats.last_cycle_lost_steps, (long)stats.no_sensor_pos,
					(double)stats.max_velocity_mms, (double)stats.max_accel_g, (double)stats.max_decel_g,
					error_message);
				uart_send_text(summary, 100);
				test_summary_sent = true;
			}
			Z_Target_SetRequestedDirect(clamp_nonnegative_position(Encoder_GetPosition_Z_AXIS()));
		}
		// Accumulate UART bytes into lines, process on '\n'
		// Single-char and multi-char commands (e.g. "Z1500\n") both work
		static char uart_line_buf[64];
		static uint8_t uart_line_len = 0;
		while (uart_cmd_tail != uart_cmd_head) {
			char c = (char)uart_cmd_buf[uart_cmd_tail];
			uart_cmd_tail = (uart_cmd_tail + 1) % UART_CMD_BUF_SIZE;
			if (c == '\n' || c == '\r') {
				if (uart_line_len > 0) {
					uart_line_buf[uart_line_len] = '\0';
					Process_UART_Command(uart_line_buf);
					uart_line_len = 0;
					break; /* Vollständigen Befehl abarbeiten, dann nächsten Schleifenzyklus */
				}
			} else if (uart_line_len < (uint8_t)(sizeof(uart_line_buf) - 1)) {
				uart_line_buf[uart_line_len++] = c;
			} else {
				uart_line_len = 0; // overflow: discard
			}
		}
		if (HAL_GetTick() >= next_100ms_tick) {
			next_100ms_tick = HAL_GetTick() + 100;
			tick_100ms_testrun_elapsed = true;
			if (current_state != TEST_RUN) {
				update_display();
			}
		}
		if (HAL_GetTick() >= next_10ms_tick) {
			next_10ms_tick = HAL_GetTick() + 10;

			handle_button_ok();
			handle_button_up();
			handle_button_down();

			/* Globale Taster-Funktionen (REF / HOME / RESET) */
			if (btn_up_pressed) {
				btn_up_pressed = 0;
				/* Taste 1 (Links): REFERENZLAUF */
				if (current_state != TEST_RUN) {
					Z_PID_Reset();
					Z_PID_SetSchedulerEnabled(true);
					current_state = EXEC_REFERENCE_RUN;
					uart_send_text("Referenzlauf via Taste gestartet.\r\n", 50);
				}
			}
			if (btn_ok_pressed) {
				btn_ok_pressed = 0;
				/* Taste 2 (Mitte): HOME / START-FREIGABE / FEHLER QUITTIEREN */
				if (current_state != TEST_RUN) {
					HAL_GPIO_WritePin(GPIOB, Z_AX_REL_EN_Pin, GPIO_PIN_SET);
					HAL_GPIO_WritePin(GPIOB, A_AX_REL_EN_Pin, GPIO_PIN_SET);
					Z_PID_Reset();
					Z_PID_SetSchedulerEnabled(true);
					uint32_t home_pos = (z_ax_no_pos > 0) ? (z_ax_no_pos + 50) : clamp_nonnegative_position(Encoder_GetPosition_Z_AXIS());
					Z_Target_SetRequestedDirect(home_pos);
					current_state = TEST_START;
					uart_send_text("Home / Freigabe via Taste OK.\r\n", 50);
				}
			}
			if (btn_down_pressed) {
				btn_down_pressed = 0;
				/* Taste 3 (Rechts): NOT-HALT (im Test) oder HARDWARE RESET (im Stillstand) */
				if (current_state == TEST_RUN) {
					TestRun_RestoreSpeedLevel();
					Z_PID_EmergencyStop(&dac);
					current_state = STOP;
					uart_send_text("NOT-HALT via Taste DOWN!\r\n", 50);
				} else {
					uart_send_text("System Reset via Taste DOWN...\r\n", 50);
					HAL_Delay(50);
					NVIC_SystemReset();
				}
			}
		}
		if (HAL_GetTick() >= next_1ms_tick) {
			next_1ms_tick += 1u;
			if (HAL_GetTick() - next_1ms_tick > 10u) {
				next_1ms_tick = HAL_GetTick() + 1u;
			}
			if (current_state == TEST_START || current_state == TEST_RUN || current_state == COMPLETED) {
				A_Axis_PIDControl(&dac, A_Axis_TargetPosition);
				if (!Z_Axis_PIDControl(&dac, Z_Axis_TargetPosition)) {
					char reason_buf[64];
					snprintf(reason_buf, sizeof(reason_buf), "%s", Z_PID_GetTripReason());
					Z_PID_EmergencyStop(&dac);
					snprintf(error_message, sizeof(error_message), "%s", reason_buf);
					red_light();
					current_state = FEHLER;
					uart_send_status();
					char uart_err[96];
					snprintf(uart_err, sizeof(uart_err), "NOT-STOPP: %s\r\n", reason_buf);
					uart_send_text(uart_err, 50);
				}
			} else if (current_state == IDLE_START || current_state == STOP || current_state == FEHLER) {
				ad5684_set_voltage(&dac, 2.5f, a_mot);
				ad5684_set_voltage(&dac, 2.5f, z_mot);
			}
		}

    /* USER CODE END WHILE */

    /* USER CODE BEGIN 3 */

	}

	return 0;
  /* USER CODE END 3 */
}

void SystemClock_Config(void)
{
  RCC_OscInitTypeDef RCC_OscInitStruct = {0};
  RCC_ClkInitTypeDef RCC_ClkInitStruct = {0};

  /** Configure the main internal regulator output voltage
  */
  __HAL_RCC_PWR_CLK_ENABLE();
  __HAL_PWR_VOLTAGESCALING_CONFIG(PWR_REGULATOR_VOLTAGE_SCALE1);

  /** Initializes the RCC Oscillators according to the specified parameters
  * in the RCC_OscInitTypeDef structure.
  */
  RCC_OscInitStruct.OscillatorType = RCC_OSCILLATORTYPE_HSE;
  RCC_OscInitStruct.HSEState = RCC_HSE_BYPASS;
  RCC_OscInitStruct.PLL.PLLState = RCC_PLL_ON;
  RCC_OscInitStruct.PLL.PLLSource = RCC_PLLSOURCE_HSE;
  RCC_OscInitStruct.PLL.PLLM = 25;
  RCC_OscInitStruct.PLL.PLLN = 432;
  RCC_OscInitStruct.PLL.PLLP = RCC_PLLP_DIV2;
  RCC_OscInitStruct.PLL.PLLQ = 2;
  if (HAL_RCC_OscConfig(&RCC_OscInitStruct) != HAL_OK)
  {
    Error_Handler();
  }

  /** Activate the Over-Drive mode
  */
  if (HAL_PWREx_EnableOverDrive() != HAL_OK)
  {
    Error_Handler();
  }

  /** Initializes the CPU, AHB and APB buses clocks
  */
  RCC_ClkInitStruct.ClockType = RCC_CLOCKTYPE_HCLK|RCC_CLOCKTYPE_SYSCLK
                              |RCC_CLOCKTYPE_PCLK1|RCC_CLOCKTYPE_PCLK2;
  RCC_ClkInitStruct.SYSCLKSource = RCC_SYSCLKSOURCE_PLLCLK;
  RCC_ClkInitStruct.AHBCLKDivider = RCC_SYSCLK_DIV1;
  RCC_ClkInitStruct.APB1CLKDivider = RCC_HCLK_DIV4;
  RCC_ClkInitStruct.APB2CLKDivider = RCC_HCLK_DIV2;

  if (HAL_RCC_ClockConfig(&RCC_ClkInitStruct, FLASH_LATENCY_7) != HAL_OK)
  {
    Error_Handler();
  }
}

static void MX_ADC1_Init(void)
{

  ADC_ChannelConfTypeDef sConfig = {0};

  /** Configure the global features of the ADC (Clock, Resolution, Data Alignment and number of conversion)
  */
  hadc1.Instance = ADC1;
  hadc1.Init.ClockPrescaler = ADC_CLOCK_SYNC_PCLK_DIV4;
  hadc1.Init.Resolution = ADC_RESOLUTION_12B;
  hadc1.Init.ScanConvMode = ADC_SCAN_DISABLE;
  hadc1.Init.ContinuousConvMode = DISABLE;
  hadc1.Init.DiscontinuousConvMode = DISABLE;
  hadc1.Init.ExternalTrigConvEdge = ADC_EXTERNALTRIGCONVEDGE_NONE;
  hadc1.Init.ExternalTrigConv = ADC_SOFTWARE_START;
  hadc1.Init.DataAlign = ADC_DATAALIGN_RIGHT;
  hadc1.Init.NbrOfConversion = 1;
  hadc1.Init.DMAContinuousRequests = DISABLE;
  hadc1.Init.EOCSelection = ADC_EOC_SINGLE_CONV;
  if (HAL_ADC_Init(&hadc1) != HAL_OK)
  {
    Error_Handler();
  }

  /** Configure for the selected ADC regular channel its corresponding rank in the sequencer and its sample time.
  */
  sConfig.Channel = ADC_CHANNEL_3;
  sConfig.Rank = ADC_REGULAR_RANK_1;
  sConfig.SamplingTime = ADC_SAMPLETIME_15CYCLES;
  if (HAL_ADC_ConfigChannel(&hadc1, &sConfig) != HAL_OK)
  {
    Error_Handler();
  }

}

static void MX_SPI2_Init(void)
{

  /* SPI2 parameter configuration*/
  hspi2.Instance = SPI2;
  hspi2.Init.Mode = SPI_MODE_MASTER;
  hspi2.Init.Direction = SPI_DIRECTION_2LINES;
  hspi2.Init.DataSize = SPI_DATASIZE_8BIT;
  hspi2.Init.CLKPolarity = SPI_POLARITY_LOW;
  hspi2.Init.CLKPhase = SPI_PHASE_1EDGE;
  hspi2.Init.NSS = SPI_NSS_HARD_OUTPUT;
  hspi2.Init.BaudRatePrescaler = SPI_BAUDRATEPRESCALER_32;
  hspi2.Init.FirstBit = SPI_FIRSTBIT_MSB;
  hspi2.Init.TIMode = SPI_TIMODE_DISABLE;
  hspi2.Init.CRCCalculation = SPI_CRCCALCULATION_DISABLE;
  hspi2.Init.CRCPolynomial = 7;
  hspi2.Init.CRCLength = SPI_CRC_LENGTH_DATASIZE;
  hspi2.Init.NSSPMode = SPI_NSS_PULSE_ENABLE;
  if (HAL_SPI_Init(&hspi2) != HAL_OK)
  {
    Error_Handler();
  }

}

static void MX_SPI4_Init(void)
{

  /* SPI4 parameter configuration*/
  hspi4.Instance = SPI4;
  hspi4.Init.Mode = SPI_MODE_MASTER;
  hspi4.Init.Direction = SPI_DIRECTION_2LINES;
  hspi4.Init.DataSize = SPI_DATASIZE_8BIT;
  hspi4.Init.CLKPolarity = SPI_POLARITY_LOW;
  hspi4.Init.CLKPhase = SPI_PHASE_1EDGE;
  hspi4.Init.NSS = SPI_NSS_SOFT;
  hspi4.Init.BaudRatePrescaler = SPI_BAUDRATEPRESCALER_16;
  hspi4.Init.FirstBit = SPI_FIRSTBIT_MSB;
  hspi4.Init.TIMode = SPI_TIMODE_DISABLE;
  hspi4.Init.CRCCalculation = SPI_CRCCALCULATION_DISABLE;
  hspi4.Init.CRCPolynomial = 7;
  hspi4.Init.CRCLength = SPI_CRC_LENGTH_DATASIZE;
  hspi4.Init.NSSPMode = SPI_NSS_PULSE_DISABLE;
  if (HAL_SPI_Init(&hspi4) != HAL_OK)
  {
    Error_Handler();
  }

}

static void MX_TIM2_Init(void)
{

  TIM_Encoder_InitTypeDef sConfig = {0};
  TIM_MasterConfigTypeDef sMasterConfig = {0};

  htim2.Instance = TIM2;
  htim2.Init.Prescaler = 0;
  htim2.Init.CounterMode = TIM_COUNTERMODE_UP;
  htim2.Init.Period = 4294967295;
  htim2.Init.ClockDivision = TIM_CLOCKDIVISION_DIV1;
  htim2.Init.AutoReloadPreload = TIM_AUTORELOAD_PRELOAD_ENABLE;
  sConfig.EncoderMode = TIM_ENCODERMODE_TI12;
  sConfig.IC1Polarity = TIM_ICPOLARITY_RISING;
  sConfig.IC1Selection = TIM_ICSELECTION_DIRECTTI;
  sConfig.IC1Prescaler = TIM_ICPSC_DIV1;
  sConfig.IC1Filter = 1;
  sConfig.IC2Polarity = TIM_ICPOLARITY_RISING;
  sConfig.IC2Selection = TIM_ICSELECTION_DIRECTTI;
  sConfig.IC2Prescaler = TIM_ICPSC_DIV1;
  sConfig.IC2Filter = 1;
  if (HAL_TIM_Encoder_Init(&htim2, &sConfig) != HAL_OK)
  {
    Error_Handler();
  }
  sMasterConfig.MasterOutputTrigger = TIM_TRGO_RESET;
  sMasterConfig.MasterSlaveMode = TIM_MASTERSLAVEMODE_DISABLE;
  if (HAL_TIMEx_MasterConfigSynchronization(&htim2, &sMasterConfig) != HAL_OK)
  {
    Error_Handler();
  }

}

static void MX_TIM5_Init(void)
{

  TIM_Encoder_InitTypeDef sConfig = {0};
  TIM_MasterConfigTypeDef sMasterConfig = {0};

  htim5.Instance = TIM5;
  htim5.Init.Prescaler = 0;
  htim5.Init.CounterMode = TIM_COUNTERMODE_UP;
  htim5.Init.Period = 4294967295;
  htim5.Init.ClockDivision = TIM_CLOCKDIVISION_DIV1;
  htim5.Init.AutoReloadPreload = TIM_AUTORELOAD_PRELOAD_ENABLE;
  sConfig.EncoderMode = TIM_ENCODERMODE_TI12;
  sConfig.IC1Polarity = TIM_ICPOLARITY_RISING;
  sConfig.IC1Selection = TIM_ICSELECTION_DIRECTTI;
  sConfig.IC1Prescaler = TIM_ICPSC_DIV1;
  sConfig.IC1Filter = 3;
  sConfig.IC2Polarity = TIM_ICPOLARITY_RISING;
  sConfig.IC2Selection = TIM_ICSELECTION_DIRECTTI;
  sConfig.IC2Prescaler = TIM_ICPSC_DIV1;
  sConfig.IC2Filter = 3;
  if (HAL_TIM_Encoder_Init(&htim5, &sConfig) != HAL_OK)
  {
    Error_Handler();
  }
  sMasterConfig.MasterOutputTrigger = TIM_TRGO_UPDATE;
  sMasterConfig.MasterSlaveMode = TIM_MASTERSLAVEMODE_DISABLE;
  if (HAL_TIMEx_MasterConfigSynchronization(&htim5, &sMasterConfig) != HAL_OK)
  {
    Error_Handler();
  }

}

static void MX_USART1_UART_Init(void)
{

  huart1.Instance = USART1;
  huart1.Init.BaudRate = 115200;
  huart1.Init.WordLength = UART_WORDLENGTH_8B;
  huart1.Init.StopBits = UART_STOPBITS_1;
  huart1.Init.Parity = UART_PARITY_NONE;
  huart1.Init.Mode = UART_MODE_TX_RX;
  huart1.Init.HwFlowCtl = UART_HWCONTROL_NONE;
  huart1.Init.OverSampling = UART_OVERSAMPLING_16;
  huart1.Init.OneBitSampling = UART_ONE_BIT_SAMPLE_DISABLE;
  huart1.AdvancedInit.AdvFeatureInit = UART_ADVFEATURE_NO_INIT;
  if (HAL_UART_Init(&huart1) != HAL_OK)
  {
    Error_Handler();
  }

}

static void MX_GPIO_Init(void)
{
  GPIO_InitTypeDef GPIO_InitStruct = {0};

  /* GPIO Ports Clock Enable */
  __HAL_RCC_GPIOE_CLK_ENABLE();
  __HAL_RCC_GPIOB_CLK_ENABLE();
  __HAL_RCC_GPIOA_CLK_ENABLE();
  __HAL_RCC_GPIOG_CLK_ENABLE();
  __HAL_RCC_GPIOI_CLK_ENABLE();
  __HAL_RCC_GPIOH_CLK_ENABLE();
  __HAL_RCC_GPIOC_CLK_ENABLE();
  __HAL_RCC_GPIOF_CLK_ENABLE();
  __HAL_RCC_GPIOD_CLK_ENABLE();
  __HAL_RCC_GPIOJ_CLK_ENABLE();

  /*Configure GPIO pin Output Level */
  HAL_GPIO_WritePin(SPI4_NSS_GPIO_Port, SPI4_NSS_Pin, GPIO_PIN_RESET);

  /*Configure GPIO pin Output Level */
  HAL_GPIO_WritePin(GPIOB, DISP_A0_Pin|DRUCK_REL_EN_Pin|DAC_RESET_Pin|A_AX_REL_EN_Pin
                          |Z_AX_REL_EN_Pin, GPIO_PIN_RESET);

  /*Configure GPIO pin Output Level */
  HAL_GPIO_WritePin(RST_DISPLAY_GPIO_Port, RST_DISPLAY_Pin, GPIO_PIN_RESET);

  /*Configure GPIO pin Output Level */
  HAL_GPIO_WritePin(EN_12V_GPIO_Port, EN_12V_Pin, GPIO_PIN_RESET);

  /*Configure GPIO pin Output Level */
  HAL_GPIO_WritePin(EN_5V_GPIO_Port, EN_5V_Pin, GPIO_PIN_RESET);

  /*Configure GPIO pin Output Level */
  HAL_GPIO_WritePin(GPIOD, EN_G_Pin|EN_B_Pin|EN_R_Pin, GPIO_PIN_RESET);

  /*Configure GPIO pin Output Level */
  HAL_GPIO_WritePin(GPIOJ, LED_GREEN_Pin|LED_RED_Pin|LED_YELLOW_Pin, GPIO_PIN_RESET);

  /*Configure GPIO pin : SPI4_NSS_Pin */
  GPIO_InitStruct.Pin = SPI4_NSS_Pin;
  GPIO_InitStruct.Mode = GPIO_MODE_OUTPUT_PP;
  GPIO_InitStruct.Pull = GPIO_NOPULL;
  GPIO_InitStruct.Speed = GPIO_SPEED_FREQ_LOW;
  HAL_GPIO_Init(SPI4_NSS_GPIO_Port, &GPIO_InitStruct);

  /*Configure GPIO pins : DISP_A0_Pin DRUCK_REL_EN_Pin DAC_RESET_Pin A_AX_REL_EN_Pin
                           Z_AX_REL_EN_Pin */
  GPIO_InitStruct.Pin = DISP_A0_Pin|DRUCK_REL_EN_Pin|DAC_RESET_Pin|A_AX_REL_EN_Pin
                          |Z_AX_REL_EN_Pin;
  GPIO_InitStruct.Mode = GPIO_MODE_OUTPUT_PP;
  GPIO_InitStruct.Pull = GPIO_NOPULL;
  GPIO_InitStruct.Speed = GPIO_SPEED_FREQ_LOW;
  HAL_GPIO_Init(GPIOB, &GPIO_InitStruct);

  /*Configure GPIO pin : RST_DISPLAY_Pin */
  GPIO_InitStruct.Pin = RST_DISPLAY_Pin;
  GPIO_InitStruct.Mode = GPIO_MODE_OUTPUT_PP;
  GPIO_InitStruct.Pull = GPIO_NOPULL;
  GPIO_InitStruct.Speed = GPIO_SPEED_FREQ_LOW;
  HAL_GPIO_Init(RST_DISPLAY_GPIO_Port, &GPIO_InitStruct);

  /*Configure GPIO pin : EN_12V_Pin */
  GPIO_InitStruct.Pin = EN_12V_Pin;
  GPIO_InitStruct.Mode = GPIO_MODE_OUTPUT_PP;
  GPIO_InitStruct.Pull = GPIO_NOPULL;
  GPIO_InitStruct.Speed = GPIO_SPEED_FREQ_LOW;
  HAL_GPIO_Init(EN_12V_GPIO_Port, &GPIO_InitStruct);

  /*Configure GPIO pin : EN_5V_Pin */
  GPIO_InitStruct.Pin = EN_5V_Pin;
  GPIO_InitStruct.Mode = GPIO_MODE_OUTPUT_PP;
  GPIO_InitStruct.Pull = GPIO_NOPULL;
  GPIO_InitStruct.Speed = GPIO_SPEED_FREQ_LOW;
  HAL_GPIO_Init(EN_5V_GPIO_Port, &GPIO_InitStruct);

  /*Configure GPIO pins : EN_G_Pin EN_B_Pin EN_R_Pin */
  GPIO_InitStruct.Pin = EN_G_Pin|EN_B_Pin|EN_R_Pin;
  GPIO_InitStruct.Mode = GPIO_MODE_OUTPUT_PP;
  GPIO_InitStruct.Pull = GPIO_NOPULL;
  GPIO_InitStruct.Speed = GPIO_SPEED_FREQ_LOW;
  HAL_GPIO_Init(GPIOD, &GPIO_InitStruct);

  /*Configure GPIO pin : NO_SEN_Pin */
  GPIO_InitStruct.Pin = NO_SEN_Pin;
  GPIO_InitStruct.Mode = GPIO_MODE_INPUT;
  GPIO_InitStruct.Pull = GPIO_PULLUP;
  HAL_GPIO_Init(NO_SEN_GPIO_Port, &GPIO_InitStruct);

  /*Configure GPIO pins : LED_GREEN_Pin LED_RED_Pin LED_YELLOW_Pin */
  GPIO_InitStruct.Pin = LED_GREEN_Pin|LED_RED_Pin|LED_YELLOW_Pin;
  GPIO_InitStruct.Mode = GPIO_MODE_OUTPUT_PP;
  GPIO_InitStruct.Pull = GPIO_NOPULL;
  GPIO_InitStruct.Speed = GPIO_SPEED_FREQ_LOW;
  HAL_GPIO_Init(GPIOJ, &GPIO_InitStruct);

  /*Configure GPIO pins : BTN_DOWN_Pin BTN_OK_Pin BTN_UP_Pin */
  GPIO_InitStruct.Pin = BTN_DOWN_Pin|BTN_OK_Pin|BTN_UP_Pin;
  GPIO_InitStruct.Mode = GPIO_MODE_INPUT;
  GPIO_InitStruct.Pull = GPIO_NOPULL;
  HAL_GPIO_Init(GPIOE, &GPIO_InitStruct);

}

 /* MPU Configuration */

void MPU_Config(void)
{
  MPU_Region_InitTypeDef MPU_InitStruct = {0};

  /* Disables the MPU */
  HAL_MPU_Disable();

  /** Initializes and configures the Region and the memory to be protected
  */
  MPU_InitStruct.Enable = MPU_REGION_ENABLE;
  MPU_InitStruct.Number = MPU_REGION_NUMBER0;
  MPU_InitStruct.BaseAddress = 0x0;
  MPU_InitStruct.Size = MPU_REGION_SIZE_4GB;
  MPU_InitStruct.SubRegionDisable = 0x87;
  MPU_InitStruct.TypeExtField = MPU_TEX_LEVEL0;
  MPU_InitStruct.AccessPermission = MPU_REGION_NO_ACCESS;
  MPU_InitStruct.DisableExec = MPU_INSTRUCTION_ACCESS_DISABLE;
  MPU_InitStruct.IsShareable = MPU_ACCESS_SHAREABLE;
  MPU_InitStruct.IsCacheable = MPU_ACCESS_NOT_CACHEABLE;
  MPU_InitStruct.IsBufferable = MPU_ACCESS_NOT_BUFFERABLE;

  HAL_MPU_ConfigRegion(&MPU_InitStruct);
  /* Enables the MPU */
  HAL_MPU_Enable(MPU_PRIVILEGED_DEFAULT);

}

void Error_Handler(void)
{
	__disable_irq();
	while (1) {
	}
}
